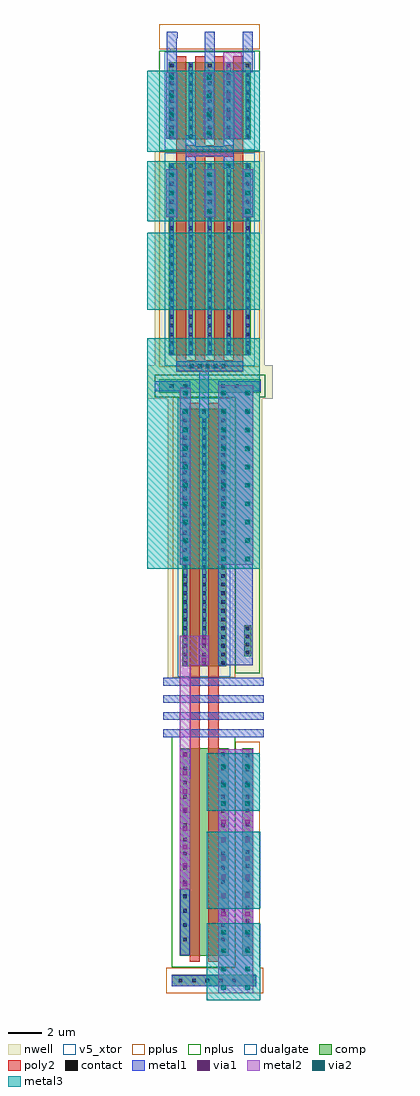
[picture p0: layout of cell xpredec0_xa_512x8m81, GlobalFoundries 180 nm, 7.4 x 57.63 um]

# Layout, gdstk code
from math import pi, radians
import gdstk
lib = gdstk.Library(unit=1e-6, precision=1e-09)
def R(c, l, rs):  # rectangles x0, y0, x1, y1
    for r in rs: c.add(gdstk.rectangle(r[:2], r[2:], *l))
def A(c, l, x, y, w, h, nx, ny, dx, dy):  # array of equal rectangles
    R(c, l, [(x+i*dx, y+j*dy, x+i*dx+w, y+j*dy+h) for i in range(nx) for j in range(ny)])
def P(c, l, *ps):  # polygons
    for p in ps: c.add(gdstk.Polygon(p, *l))
nwell = (21, 0)
comp = (22, 0)
poly2 = (30, 0)
pplus = (31, 0)
nplus = (32, 0)
contact = (33, 0)
metal1 = (34, 0)
via1 = (35, 0)
metal2 = (36, 0)
via2 = (38, 0)
metal3 = (42, 0)
dualgate = (55, 0)
v5_xtor = (112, 1)

m3_m2__47333420_512x8m81 = lib.new_cell('M3_M2$$47333420_512x8m81')
R(m3_m2__47333420_512x8m81, metal2, [(-0.32,-1.965,0.32,1.96)])
A(m3_m2__47333420_512x8m81, via2, -0.13, -1.765, 0.26, 0.26, 1, 4, 0, 1.09)
R(m3_m2__47333420_512x8m81, metal3, [(-0.325,-1.965,0.325,1.965)])

m2_m1__43379756_512x8m81 = lib.new_cell('M2_M1$$43379756_512x8m81')
R(m2_m1__43379756_512x8m81, metal1, [(-0.32,-1.965,0.32,1.965)])
A(m2_m1__43379756_512x8m81, via1, -0.13, -1.765, 0.26, 0.26, 1, 4, 0, 1.09)
R(m2_m1__43379756_512x8m81, metal2, [(-0.32,-1.965,0.32,1.96)])

m2_m1__43375660_512x8m81 = lib.new_cell('M2_M1$$43375660_512x8m81')
R(m2_m1__43375660_512x8m81, metal1, [(-0.31,-0.875,0.31,0.875)])
R(m2_m1__43375660_512x8m81, via1, [(-0.13,-0.675,0.13,-0.415), (-0.13,0.415,0.13,0.675)])
R(m2_m1__43375660_512x8m81, metal2, [(-0.31,-0.875,0.31,0.875)])

m1_nactive4310591302024_ = lib.new_cell('M1_NACTIVE4310591302024_512x8m81')
R(m1_nactive4310591302024_, comp, [(-0.21,-0.915,0.21,0.915)])
R(m1_nactive4310591302024_, nplus, [(-0.37,-1.075,0.37,1.075)])
A(m1_nactive4310591302024_, contact, -0.11, -0.815, 0.22, 0.22, 1, 4, 0, 0.47)
R(m1_nactive4310591302024_, metal1, [(-0.17,-0.875,0.17,0.875)])

m3_m2__47108140_512x8m81 = lib.new_cell('M3_M2$$47108140_512x8m81')
R(m3_m2__47108140_512x8m81, metal2, [(-0.32,-1.42,0.32,1.415)])
A(m3_m2__47108140_512x8m81, via2, -0.13, -1.22, 0.26, 0.26, 1, 3, 0, 1.09)
R(m3_m2__47108140_512x8m81, metal3, [(-0.325,-1.42,0.325,1.42)])

m2_m1__43380780_512x8m81 = lib.new_cell('M2_M1$$43380780_512x8m81')
R(m2_m1__43380780_512x8m81, metal1, [(-0.32,-1.42,0.32,1.415)])
A(m2_m1__43380780_512x8m81, via1, -0.13, -1.22, 0.26, 0.26, 1, 3, 0, 1.09)
R(m2_m1__43380780_512x8m81, metal2, [(-0.32,-1.42,0.32,1.415)])

m3_m2__47644716_512x8m81 = lib.new_cell('M3_M2$$47644716_512x8m81')
R(m3_m2__47644716_512x8m81, metal2, [(-0.32,-5.23,0.32,5.225)])
A(m3_m2__47644716_512x8m81, via2, -0.13, -1.765, 0.26, 0.26, 1, 4, 0, 1.09)
R(m3_m2__47644716_512x8m81, via2, [(-0.13,-5.025,0.13,-4.765), (-0.13,-3.94,0.13,-3.68), (-0.13,-2.85,0.13,-2.59), (-0.13,2.59,0.13,2.85), (-0.13,3.68,0.13,3.94), (-0.13,4.765,0.13,5.025)])
R(m3_m2__47644716_512x8m81, metal3, [(-0.325,-5.23,0.325,5.23)])

m2_m1__43376684_512x8m81 = lib.new_cell('M2_M1$$43376684_512x8m81')
R(m2_m1__43376684_512x8m81, metal1, [(-0.315,-4.14,0.32,4.14)])
A(m2_m1__43376684_512x8m81, via1, -0.13, -1.765, 0.26, 0.26, 1, 4, 0, 1.09)
R(m2_m1__43376684_512x8m81, via1, [(-0.13,-3.94,0.13,-3.68), (-0.13,-2.85,0.13,-2.59), (-0.13,2.59,0.13,2.85), (-0.13,3.68,0.13,3.94)])
R(m2_m1__43376684_512x8m81, metal2, [(-0.315,-4.14,0.32,4.14)])

m2_m1__47500332_512x8m81 = lib.new_cell('M2_M1$$47500332_512x8m81')
P(m2_m1__47500332_512x8m81, metal1, [(-0.32,-5.23),(-0.32,5.23),(0.275,5.23),(0.275,5.225),(0.32,5.225),(0.32,-5.23)])
A(m2_m1__47500332_512x8m81, via1, -0.13, -1.765, 0.26, 0.26, 1, 4, 0, 1.09)
R(m2_m1__47500332_512x8m81, via1, [(-0.13,-5.025,0.13,-4.765), (-0.13,-3.94,0.13,-3.68), (-0.13,-2.85,0.13,-2.59), (-0.13,2.59,0.13,2.85), (-0.13,3.68,0.13,3.94), (-0.13,4.765,0.13,5.025)])
R(m2_m1__47500332_512x8m81, metal2, [(-0.32,-5.23,0.32,5.225)])

m1_poly24310591302059_51 = lib.new_cell('M1_POLY24310591302059_512x8m81')
R(m1_poly24310591302059_51, poly2, [(-1.15,-0.21,1.15,0.21)])
A(m1_poly24310591302059_51, contact, -1.05, -0.11, 0.22, 0.22, 5, 1, 0.47, 0)
R(m1_poly24310591302059_51, metal1, [(-1.11,-0.17,1.11,0.17)])

pmos_5p04310591302067_51 = lib.new_cell('pmos_5p04310591302067_512x8m81')
R(pmos_5p04310591302067_51, nwell, [(-1.04,-0.6,1.64,15.8)])
R(pmos_5p04310591302067_51, comp, [(-0.44,0,1.04,15.2), (-0.44,0,-0.08,15.2), (0.68,0,1.04,15.2)])
R(pmos_5p04310591302067_51, poly2, [(0,-0.22,0.6,15.42), (0,15.2,0.6,15.42)])
R(pmos_5p04310591302067_51, pplus, [(-0.6,-0.23,1.2,15.43)])
A(pmos_5p04310591302067_51, contact, -0.37, 0.07, 0.22, 0.22, 1, 11, 0, 0.515)
A(pmos_5p04310591302067_51, contact, 0.75, 0.07, 0.22, 0.22, 1, 11, 0, 0.515)
A(pmos_5p04310591302067_51, contact, -0.37, 5.73, 0.22, 0.22, 1, 19, 0, 0.51)
A(pmos_5p04310591302067_51, contact, 0.75, 5.73, 0.22, 0.22, 1, 19, 0, 0.51)
R(pmos_5p04310591302067_51, metal1, [(-0.375,0,-0.145,15.2), (-0.375,0,-0.145,15.2), (0.745,0,0.975,15.2), (0.745,0,0.975,15.2)])
R(pmos_5p04310591302067_51, dualgate, [(-0.68,-0.62,1.28,15.82)])
R(pmos_5p04310591302067_51, v5_xtor, [(-0.68,-0.62,1.28,15.82)])
pmos_5p04310591302067_51.add(gdstk.Label('S', (-0.26,7.6), layer=34, texttype=0))
pmos_5p04310591302067_51.add(gdstk.Label('D', (0.86,7.6), layer=34, texttype=0))

pmos_1p2__47643692_512x8 = lib.new_cell('pmos_1p2$$47643692_512x8m81')
R(pmos_1p2__47643692_512x8, nwell, [(-1.43,-0.71,1.72,15.895)])
R(pmos_1p2__47643692_512x8, poly2, [(-0.155,-0.37,0.44,-0.005), (-0.155,15.195,0.44,15.555)])
R(pmos_1p2__47643692_512x8, pplus, [(-1.145,-0.685,1.43,15.875)])
pmos_1p2__47643692_512x8.add(gdstk.Reference(pmos_5p04310591302067_51, (-0.155,0)))

pmos_1p2__47642668_512x8 = lib.new_cell('pmos_1p2$$47642668_512x8m81')
R(pmos_1p2__47642668_512x8, nwell, [(-2.73,-0.71,1.72,15.895)])
R(pmos_1p2__47642668_512x8, poly2, [(-0.155,-0.37,0.44,-0.005), (-0.155,15.195,0.44,15.555)])
R(pmos_1p2__47642668_512x8, pplus, [(-1.145,-0.685,1.43,15.875)])
R(pmos_1p2__47642668_512x8, nplus, [(-2.595,-0.415,-1.135,15.6)])
pmos_1p2__47642668_512x8.add(gdstk.Reference(pmos_5p04310591302067_51, (-0.155,0)))

pmos_5p04310591302068_51 = lib.new_cell('pmos_5p04310591302068_512x8m81')
R(pmos_5p04310591302068_51, nwell, [(-1.04,-0.6,1.64,11.94)])
R(pmos_5p04310591302068_51, comp, [(-0.44,0,1.04,11.34), (-0.44,0,-0.08,11.34), (0.68,0,1.04,11.34)])
R(pmos_5p04310591302068_51, poly2, [(0,-0.22,0.6,11.56)])
R(pmos_5p04310591302068_51, pplus, [(-0.6,-0.23,1.2,11.57)])
A(pmos_5p04310591302068_51, contact, -0.37, 0.07, 0.22, 0.22, 1, 13, 0, 0.525)
A(pmos_5p04310591302068_51, contact, 0.75, 0.07, 0.22, 0.22, 1, 13, 0, 0.525)
A(pmos_5p04310591302068_51, contact, -0.37, 6.89, 0.22, 0.22, 1, 9, 0, 0.52)
A(pmos_5p04310591302068_51, contact, 0.75, 6.89, 0.22, 0.22, 1, 9, 0, 0.52)
R(pmos_5p04310591302068_51, metal1, [(-0.375,0,-0.145,11.34), (-0.375,0,-0.145,11.34), (0.745,0,0.975,11.34), (0.745,0,0.975,11.34)])
R(pmos_5p04310591302068_51, dualgate, [(-0.68,-0.62,1.28,11.96)])
R(pmos_5p04310591302068_51, v5_xtor, [(-0.68,-0.62,1.28,11.96)])
pmos_5p04310591302068_51.add(gdstk.Label('S', (-0.26,5.67), layer=34, texttype=0))
pmos_5p04310591302068_51.add(gdstk.Label('D', (0.86,5.67), layer=34, texttype=0))

pmos_1p2__47513644_512x8 = lib.new_cell('pmos_1p2$$47513644_512x8m81')
R(pmos_1p2__47513644_512x8, nwell, [(-1.43,-0.705,1.72,12.045)])
R(pmos_1p2__47513644_512x8, poly2, [(-0.15,-0.37,0.44,0), (-0.155,11.34,0.445,11.65)])
R(pmos_1p2__47513644_512x8, pplus, [(-1.145,-0.68,1.43,12.02)])
pmos_1p2__47513644_512x8.add(gdstk.Reference(pmos_5p04310591302068_51, (-0.155,0)))

nmos_5p04310591302057_51 = lib.new_cell('nmos_5p04310591302057_512x8m81')
R(nmos_5p04310591302057_51, comp, [(-0.44,0,1.04,4.54), (-0.44,0,-0.08,4.54), (0.68,0,1.04,4.54)])
R(nmos_5p04310591302057_51, poly2, [(0,-0.22,0.6,4.76), (0,4.54,0.6,4.76)])
R(nmos_5p04310591302057_51, nplus, [(-0.6,-0.23,1.2,4.77)])
A(nmos_5p04310591302057_51, contact, -0.37, 0.07, 0.22, 0.22, 1, 5, 0, 0.525)
A(nmos_5p04310591302057_51, contact, 0.75, 0.07, 0.22, 0.22, 1, 5, 0, 0.525)
A(nmos_5p04310591302057_51, contact, -0.37, 2.69, 0.22, 0.22, 1, 4, 0, 0.52)
A(nmos_5p04310591302057_51, contact, 0.75, 2.69, 0.22, 0.22, 1, 4, 0, 0.52)
R(nmos_5p04310591302057_51, metal1, [(-0.375,0,-0.145,4.54), (-0.375,0,-0.145,4.54), (0.745,0,0.975,4.54), (0.745,0,0.975,4.54)])
R(nmos_5p04310591302057_51, dualgate, [(-0.68,-0.62,1.28,5.16)])
R(nmos_5p04310591302057_51, v5_xtor, [(-0.68,-0.62,1.28,5.16)])
nmos_5p04310591302057_51.add(gdstk.Label('S', (-0.26,2.27), layer=34, texttype=0))
nmos_5p04310591302057_51.add(gdstk.Label('D', (0.86,2.27), layer=34, texttype=0))

nmos_1p2__47641644_512x8 = lib.new_cell('nmos_1p2$$47641644_512x8m81')
R(nmos_1p2__47641644_512x8, poly2, [(-0.155,-0.365,0.44,-0.005), (-0.155,4.54,0.44,4.9)])
R(nmos_1p2__47641644_512x8, pplus, [(-1.145,-2.27,1.43,-0.765)])
R(nmos_1p2__47641644_512x8, nplus, [(-1.145,-0.685,1.43,5.22)])
nmos_1p2__47641644_512x8.add(gdstk.Reference(nmos_5p04310591302057_51, (-0.155,0)))

m2_m1__47640620_512x8m81 = lib.new_cell('M2_M1$$47640620_512x8m81')
R(m2_m1__47640620_512x8m81, metal1, [(-0.325,-6.32,0.325,6.32)])
A(m2_m1__47640620_512x8m81, via1, -0.13, -1.765, 0.26, 0.26, 1, 4, 0, 1.09)
R(m2_m1__47640620_512x8m81, via1, [(-0.13,-6.115,0.13,-5.855), (-0.13,-5.025,0.13,-4.765), (-0.13,-3.94,0.13,-3.68), (-0.13,-2.85,0.13,-2.59), (-0.13,2.59,0.13,2.85), (-0.13,3.68,0.13,3.94), (-0.13,4.765,0.13,5.025), (-0.13,5.855,0.13,6.115)])
R(m2_m1__47640620_512x8m81, metal2, [(-0.325,-6.32,0.325,6.32)])

xpredec0_xa_512x8m81 = lib.new_cell('xpredec0_xa_512x8m81')
R(xpredec0_xa_512x8m81, nwell, [(0.765,35.34,8.165,37.31)])
R(xpredec0_xa_512x8m81, comp, [(2.2,0.63,7.21,1.32), (2.665,2.43,5.57,14.68), (6.355,2.43,7.015,14.68), (1.475,35.68,7.45,36.48)])
R(xpredec0_xa_512x8m81, poly2, [(3.255,2.07,3.855,19.355), (4.375,2.07,4.975,19.355)])
P(xpredec0_xa_512x8m81, poly2, [(2.465,36.915),(2.465,37.7),(3.065,37.7),(3.065,37.6),(3.585,37.6),(3.585,37.695),(4.185,37.695),(4.185,37.6),(4.705,37.6),(4.705,37.695),(5.305,37.695),(5.305,37.6),(5.825,37.6),(5.825,37.7),(6.425,37.7),(6.425,36.915)],
  [(2.465,49.315),(2.465,50.5),(3.065,50.5),(3.065,50.295),(3.585,50.295),(3.585,50.5),(4.185,50.5),(4.185,50.295),(4.705,50.295),(4.705,50.5),(5.305,50.5),(5.305,50.295),(5.825,50.295),(5.825,50.5),(6.425,50.5),(6.425,49.315),(5.825,49.315),(5.825,49.61),(5.305,49.61),(5.305,49.315),(4.705,49.315),(4.705,49.61),(4.185,49.61),(4.185,49.315),(3.585,49.315),(3.585,49.61),(3.065,49.61),(3.065,49.315)])
P(xpredec0_xa_512x8m81, pplus, [(1.885,0.22),(1.885,1.725),(5.955,1.725),(5.955,15.09),(7.415,15.09),(7.415,1.725),(7.605,1.725),(7.605,0.22)])
R(xpredec0_xa_512x8m81, nplus, [(2.2,1.75,5.965,15.36)])
P(xpredec0_xa_512x8m81, nplus, [(5.955,34.94),(5.955,35.405),(1.215,35.405),(1.215,36.75),(7.715,36.75),(7.715,35.405),(7.415,35.405),(7.415,34.94)])
A(xpredec0_xa_512x8m81, contact, 2.615, 0.865, 0.22, 0.22, 5, 1, 0.79, 0)
A(xpredec0_xa_512x8m81, contact, 2.885, 3.29, 0.22, 0.22, 1, 4, 0, 0.85)
A(xpredec0_xa_512x8m81, contact, 5.13, 3.29, 0.22, 0.22, 1, 4, 0, 0.85)
A(xpredec0_xa_512x8m81, contact, 6.575, 3.555, 0.22, 0.22, 1, 5, 0, 0.815)
A(xpredec0_xa_512x8m81, contact, 2.885, 6.68, 0.22, 0.22, 1, 3, 0, 0.84)
A(xpredec0_xa_512x8m81, contact, 5.13, 6.68, 0.22, 0.22, 1, 3, 0, 0.84)
A(xpredec0_xa_512x8m81, contact, 6.575, 7.635, 0.22, 0.22, 1, 4, 0, 0.815)
A(xpredec0_xa_512x8m81, contact, 2.885, 9.195, 0.22, 0.22, 1, 5, 0, 0.84)
A(xpredec0_xa_512x8m81, contact, 5.13, 9.195, 0.22, 0.22, 1, 5, 0, 0.84)
A(xpredec0_xa_512x8m81, contact, 6.575, 10.9, 0.22, 0.22, 1, 5, 0, 0.815)
R(xpredec0_xa_512x8m81, contact, [(6.575,2.735,6.795,2.955), (2.885,13.39,3.105,13.61), (5.13,13.39,5.35,13.61), (2.885,14.23,3.105,14.45), (5.13,14.23,5.35,14.45), (2.095,35.97,2.315,36.19), (2.89,35.97,3.11,36.19), (5.13,35.97,5.35,36.19), (5.92,35.97,6.14,36.19)])
A(xpredec0_xa_512x8m81, metal1, 1.915, 54.62, 0.58, 2.385, 3, 1, 2.24, 0)
R(xpredec0_xa_512x8m81, metal1, [(1.71,15.355,7.635,15.815), (1.71,16.365,7.635,16.825), (1.71,17.37,7.635,17.835), (1.71,18.38,7.635,18.84), (2.395,56.62,2.575,56.96)])
P(xpredec0_xa_512x8m81, metal1, [(3.035,48.905),(3.035,50.9),(3.615,50.9),(3.615,50.25),(5.275,50.25),(5.275,50.9),(5.855,50.9),(5.855,48.905),(5.275,48.905),(5.275,49.655),(3.615,49.655),(3.615,48.905)],
  [(3.825,34.205),(3.825,36.96),(2.475,36.96),(2.475,37.555),(6.415,37.555),(6.415,36.96),(4.41,36.96),(4.41,36.955),(4.405,36.955),(4.405,34.205)],
  [(4.945,19.58),(4.945,36.375),(7.45,36.375),(7.45,35.78),(6.975,35.78),(6.975,19.58)],
  [(2.705,34.135),(2.705,35.78),(1.215,35.78),(1.215,36.375),(3.285,36.375),(3.285,35.99),(3.29,35.99),(3.29,34.135)],
  [(2.2,0.65),(2.2,1.295),(4.945,1.295),(4.945,14.635),(6.975,14.635),(6.975,1.345),(7.01,1.345),(7.01,1.295),(7.21,1.295),(7.21,0.65)],
  [(2.7,2.475),(2.7,14.635),(3.285,14.635),(3.285,6.35),(3.28,6.35),(3.28,2.475)])
R(xpredec0_xa_512x8m81, metal2, [(4.945,0.21,7.01,14.635), (4.945,25.535,7.01,36.13), (5.245,50.695,6.35,55.785)])
P(xpredec0_xa_512x8m81, metal2, [(2.675,12.905),(2.675,21.335),(4.435,21.335),(4.435,19.58),(3.315,19.58),(3.315,12.905)])
R(xpredec0_xa_512x8m81, metal3, [(4.275,-0.175,7.44,4.365), (4.275,5.22,7.425,9.76), (4.275,11,7.415,14.41), (0.765,25.285,7.405,38.895), (0.765,40.585,7.405,45.13), (0.765,45.8,7.415,49.365), (0.765,49.925,7.415,54.685)])
xpredec0_xa_512x8m81.add(gdstk.Reference(m3_m2__47333420_512x8m81, (2.205,52.66)))
xpredec0_xa_512x8m81.add(gdstk.Reference(m3_m2__47333420_512x8m81, (4.405,52.66)))
xpredec0_xa_512x8m81.add(gdstk.Reference(m3_m2__47333420_512x8m81, (5.27,2.19)))
xpredec0_xa_512x8m81.add(gdstk.Reference(m3_m2__47333420_512x8m81, (6.685,2.19)))
xpredec0_xa_512x8m81.add(gdstk.Reference(m2_m1__43379756_512x8m81, (2.205,52.66)))
xpredec0_xa_512x8m81.add(gdstk.Reference(m2_m1__43379756_512x8m81, (4.405,52.66)))
xpredec0_xa_512x8m81.add(gdstk.Reference(m2_m1__43379756_512x8m81, (5.565,52.66)))
xpredec0_xa_512x8m81.add(gdstk.Reference(m2_m1__43375660_512x8m81, (4.12,20.46), rotation=pi, x_reflection=True))
xpredec0_xa_512x8m81.add(gdstk.Reference(m1_nactive4310591302024_, (6.685,21.05)))
xpredec0_xa_512x8m81.add(gdstk.Reference(m3_m2__47108140_512x8m81, (6.685,47.47)))
xpredec0_xa_512x8m81.add(gdstk.Reference(m3_m2__47108140_512x8m81, (4.445,47.47)))
xpredec0_xa_512x8m81.add(gdstk.Reference(m3_m2__47108140_512x8m81, (2.205,47.47)))
xpredec0_xa_512x8m81.add(gdstk.Reference(m3_m2__47108140_512x8m81, (5.27,12.525)))
xpredec0_xa_512x8m81.add(gdstk.Reference(m3_m2__47108140_512x8m81, (6.685,12.525)))
xpredec0_xa_512x8m81.add(gdstk.Reference(m2_m1__43380780_512x8m81, (6.685,47.47)))
xpredec0_xa_512x8m81.add(gdstk.Reference(m2_m1__43380780_512x8m81, (4.445,47.47)))
xpredec0_xa_512x8m81.add(gdstk.Reference(m2_m1__43380780_512x8m81, (2.205,47.47)))
xpredec0_xa_512x8m81.add(gdstk.Reference(m3_m2__47644716_512x8m81, (6.685,30.765)))
xpredec0_xa_512x8m81.add(gdstk.Reference(m3_m2__47644716_512x8m81, (3.01,30.765)))
xpredec0_xa_512x8m81.add(gdstk.Reference(m3_m2__47644716_512x8m81, (5.27,30.765)))
xpredec0_xa_512x8m81.add(gdstk.Reference(m2_m1__43376684_512x8m81, (2.995,10.495), rotation=pi, x_reflection=True))
xpredec0_xa_512x8m81.add(gdstk.Reference(m2_m1__47500332_512x8m81, (6.685,30.765)))
xpredec0_xa_512x8m81.add(gdstk.Reference(m2_m1__47500332_512x8m81, (3.01,30.765)))
xpredec0_xa_512x8m81.add(gdstk.Reference(m2_m1__47500332_512x8m81, (5.27,30.765)))
xpredec0_xa_512x8m81.add(gdstk.Reference(m1_poly24310591302059_51, (4.325,37.25)))
xpredec0_xa_512x8m81.add(gdstk.Reference(pmos_1p2__47643692_512x8, (3.7,19.54), rotation=pi, x_reflection=True))
xpredec0_xa_512x8m81.add(gdstk.Reference(pmos_1p2__47642668_512x8, (4.82,19.54), rotation=pi, x_reflection=True))
xpredec0_xa_512x8m81.add(gdstk.Reference(pmos_1p2__47513644_512x8, (6.27,49.25), rotation=pi))
xpredec0_xa_512x8m81.add(gdstk.Reference(pmos_1p2__47513644_512x8, (2.91,49.25), rotation=pi))
xpredec0_xa_512x8m81.add(gdstk.Reference(pmos_1p2__47513644_512x8, (4.03,49.25), rotation=pi))
xpredec0_xa_512x8m81.add(gdstk.Reference(pmos_1p2__47513644_512x8, (5.15,49.25), rotation=pi))
xpredec0_xa_512x8m81.add(gdstk.Reference(nmos_1p2__47641644_512x8, (5.15,55.19), rotation=pi))
xpredec0_xa_512x8m81.add(gdstk.Reference(nmos_1p2__47641644_512x8, (2.91,55.19), rotation=pi))
xpredec0_xa_512x8m81.add(gdstk.Reference(nmos_1p2__47641644_512x8, (4.03,55.19), rotation=pi))
xpredec0_xa_512x8m81.add(gdstk.Reference(nmos_1p2__47641644_512x8, (6.27,55.19), rotation=pi))
xpredec0_xa_512x8m81.add(gdstk.Reference(m2_m1__47640620_512x8m81, (5.27,7.63)))
xpredec0_xa_512x8m81.add(gdstk.Reference(m2_m1__47640620_512x8m81, (6.685,7.63)))

lib.write_gds('xpredec0_xa_512x8m81.gds')
